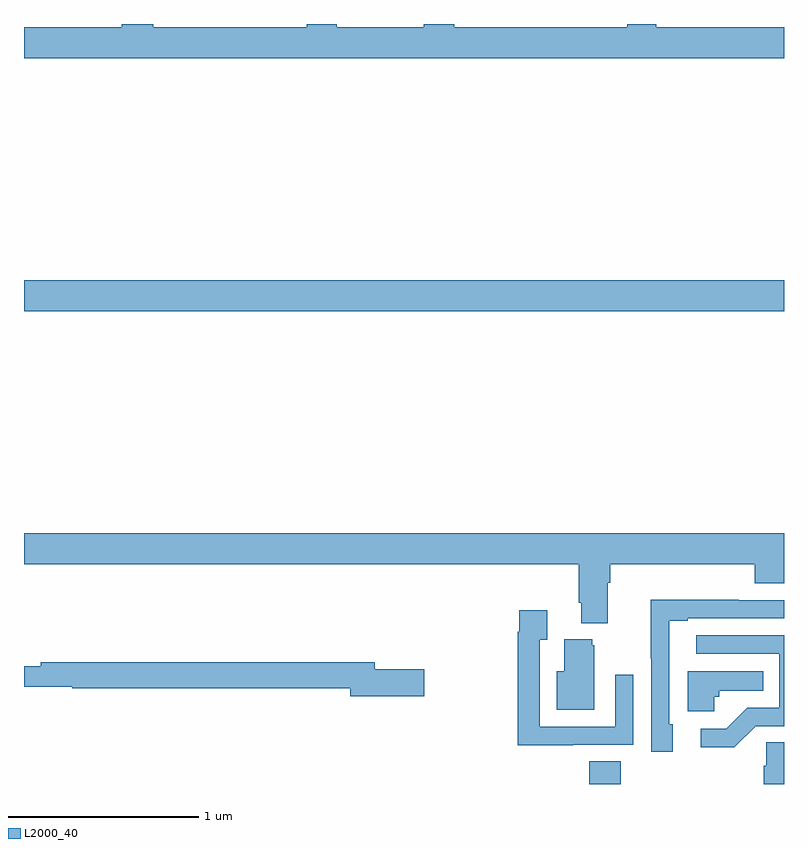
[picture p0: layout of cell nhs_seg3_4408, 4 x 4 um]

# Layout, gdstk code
import gdstk
lib = gdstk.Library(unit=1e-6, precision=1e-09)
def R(c, l, rs):  # rectangles x0, y0, x1, y1
    for r in rs: c.add(gdstk.rectangle(r[:2], r[2:], *l))
def P(c, l, *ps):  # polygons
    for p in ps: c.add(gdstk.Polygon(p, *l))
L2000_40 = (2000, 40)

nhs_seg3_4408 = lib.new_cell('nhs_seg3_4408')
R(nhs_seg3_4408, L2000_40, [(347.975,726.4,348.14,726.521), (345,728.888,349,729.052)])
P(nhs_seg3_4408, L2000_40, [(349,730.384),(348.328,730.384),(348.328,730.4),(348.176,730.4),(348.176,730.384),(347.264,730.384),(347.264,730.4),(347.104,730.4),(347.104,730.384),(346.647,730.384),(346.647,730.4),(346.487,730.4),(346.487,730.384),(345.68,730.384),(345.68,730.4),(345.515,730.4),(345.515,730.384),(345,730.384),(345,730.22),(349,730.22)],
  [(348.073,727.46),(348.086,727.46),(348.086,727.556),(348.845,727.556),(348.845,727.457),(349,727.457),(349,727.72),(345,727.72),(345,727.556),(347.921,727.556),(347.921,727.354),(347.933,727.354),(347.933,727.247),(348.073,727.247)],
  [(348.415,726.714),(348.396,726.714),(348.396,727.26),(348.493,727.26),(348.493,727.272),(349,727.272),(349,727.368),(348.761,727.368),(348.761,727.37),(348.298,727.37),(348.298,727.063),(348.3,727.063),(348.3,726.57),(348.415,726.57)],
  [(347.891,726.606),(348.207,726.606),(348.207,726.976),(348.111,726.976),(348.111,726.702),(347.715,726.702),(347.715,727.159),(347.755,727.159),(347.755,727.315),(347.607,727.315),(347.607,727.202),(347.599,727.202),(347.599,726.605),(347.891,726.605)],
  [(348.852,726.705),(349,726.705),(349,727.182),(348.537,727.182),(348.537,727.086),(348.975,727.086),(348.975,726.801),(348.806,726.801),(348.695,726.69),(348.561,726.69),(348.561,726.593),(348.739,726.593)],
  [(348.001,727.131),(347.99,727.131),(347.99,727.162),(347.843,727.162),(347.843,726.994),(347.804,726.994),(347.804,726.791),(348.001,726.791)],
  [(347.107,727.004),(346.846,727.004),(346.846,727.04),(345.088,727.04),(345.088,727.021),(345,727.021),(345,726.912),(345.254,726.912),(345.254,726.904),(346.718,726.904),(346.718,726.862),(347.107,726.862)],
  [(348.633,726.858),(348.66,726.858),(348.66,726.89),(348.89,726.89),(348.89,726.994),(348.494,726.994),(348.494,726.782),(348.633,726.782)],
  [(349,726.62),(348.906,726.62),(348.906,726.497),(348.893,726.497),(348.893,726.4),(349,726.4)])

lib.write_gds('nhs_seg3_4408.gds')
